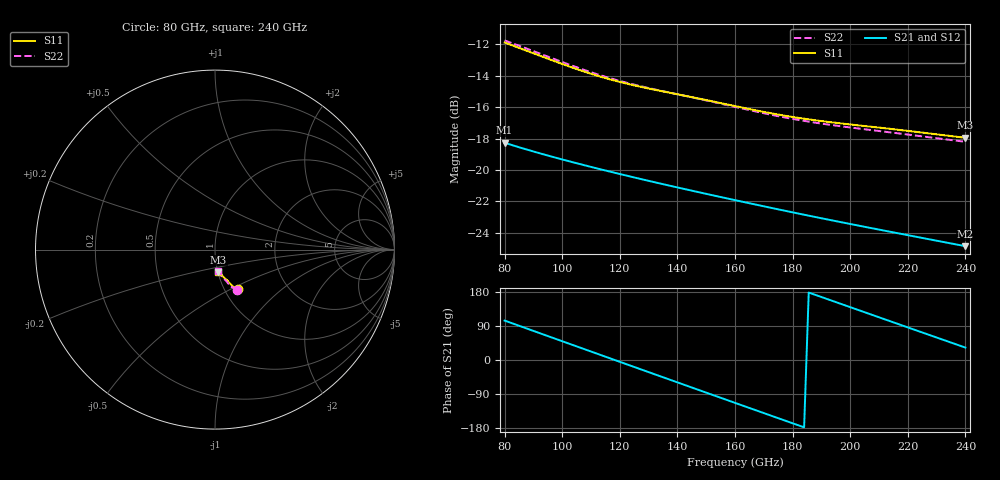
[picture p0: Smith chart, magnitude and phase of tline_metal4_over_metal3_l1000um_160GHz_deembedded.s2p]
! Created with skrf 2.2.0 (http://scikit-rf.org).
# GHz S DB R 50.0
! Port[1] = P1
! Port[2] = P2
!freq dBS11 angS11 dBS21 angS21 dBS12 angS12 dBS22 angS22
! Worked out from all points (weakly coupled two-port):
!   101 points, 80 GHz to 240 GHz, reference 50 ohm
!   highest |S21| = -18.26 dB at 80 GHz (marker M1); lowest = -24.8 dB at 240 GHz (marker M2)
!   lowest |S11| = -17.9 dB at 240 GHz (marker M3), VSWR 1.29, Z = 50.3 - j12.8 ohm
!   |S11| at or under -10 dB: start of sweep to end of sweep
!   |S22| runs from -18.2 to -11.8 dB; largest |S21 - S12| = 7.8e-14
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80  -11.89 -60.4  -18.26 104.1  -18.26 104.1  -11.75 -61.3
86.4  -12.32 -62.2  -18.63 86.6  -18.63 86.6  -12.18 -63.3
92.8  -12.76 -63.8  -18.97 69.2  -18.97 69.2  -12.63 -65.1
100.8  -13.30 -65.3  -19.36 47.4  -19.36 47.4  -13.18 -66.9
107.2  -13.71 -66.3  -19.67 30.0  -19.67 30.0  -13.60 -68.0
113.6  -14.07 -67.0  -19.97 12.6  -19.97 12.6  -13.99 -68.9
120  -14.39 -67.6  -20.25 -4.8  -20.25 -4.8  -14.33 -69.7
126.4  -14.67 -68.3  -20.53 -22.2  -20.53 -22.2  -14.63 -70.4
134.4  -14.98 -69.2  -20.87 -43.9  -20.87 -43.9  -14.96 -71.4
140.8  -15.21 -70.1  -21.14 -61.2  -21.14 -61.2  -15.21 -72.3
147.2  -15.44 -71.0  -21.40 -78.5  -21.40 -78.5  -15.46 -73.3
153.6  -15.68 -71.9  -21.66 -95.8  -21.66 -95.8  -15.72 -74.3
160  -15.93 -72.8  -21.92 -113.1  -21.92 -113.1  -15.98 -75.2
168  -16.23 -73.7  -22.23 -134.7  -22.23 -134.7  -16.31 -76.1
174.4  -16.45 -74.2  -22.48 -151.9  -22.48 -151.9  -16.55 -76.7
180.8  -16.65 -74.7  -22.72 -169.1  -22.72 -169.1  -16.77 -77.1
187.2  -16.82 -75.2  -22.96 173.7  -22.96 173.7  -16.97 -77.6
193.6  -16.96 -75.7  -23.20 156.6  -23.20 156.6  -17.14 -78.0
201.6  -17.13 -76.5  -23.49 135.2  -23.49 135.2  -17.33 -78.7
214.4  -17.39 -78.1  -23.95 101.0  -23.95 101.0  -17.62 -80.0
225.6  -17.63 -79.5  -24.34 71.1  -24.34 71.1  -17.87 -81.2
240  -17.95 -81.3  -24.85 32.8  -24.85 32.8  -18.20 -82.6
